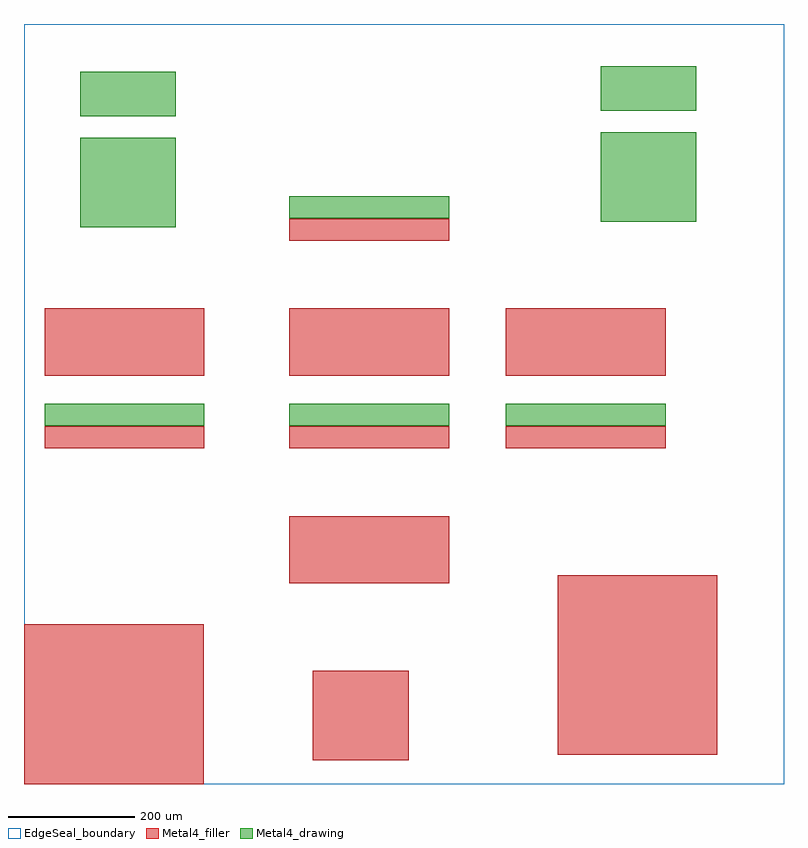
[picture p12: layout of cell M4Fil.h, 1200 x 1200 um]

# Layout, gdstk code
import gdstk
lib = gdstk.Library(unit=1e-6, precision=1e-09)
def R(c, l, rs):  # rectangles x0, y0, x1, y1
    for r in rs: c.add(gdstk.rectangle(r[:2], r[2:], *l))
def A(c, l, x, y, w, h, nx, ny, dx, dy):  # array of equal rectangles
    R(c, l, [(x+i*dx, y+j*dy, x+i*dx+w, y+j*dy+h) for i in range(nx) for j in range(ny)])
EdgeSeal_boundary = (39, 4)
Metal4_drawing = (50, 0)
Metal4_filler = (50, 22)

m4fil_h = lib.new_cell('M4Fil.h')
R(m4fil_h, EdgeSeal_boundary, [(0,0,1200,1200)])
A(m4fil_h, Metal4_drawing, 32.975, 565.64, 50, 35, 5, 1, 50.5, 0)
A(m4fil_h, Metal4_drawing, 419.065, 565.64, 50, 35, 5, 2, 50.5, 327.725)
A(m4fil_h, Metal4_drawing, 760.905, 565.64, 50, 35, 5, 1, 50.5, 0)
A(m4fil_h, Metal4_drawing, 88.995, 879.115, 50, 35, 3, 4, 50.5, 35.5)
A(m4fil_h, Metal4_drawing, 910.625, 887.55, 50, 35, 3, 4, 50.5, 35.5)
A(m4fil_h, Metal4_drawing, 88.995, 1054.34, 50, 35, 3, 2, 50.5, 35.5)
A(m4fil_h, Metal4_drawing, 910.625, 1062.775, 50, 35, 3, 2, 50.5, 35.5)
A(m4fil_h, Metal4_filler, 0, 0, 35, 50, 8, 5, 35.5, 50.5)
A(m4fil_h, Metal4_filler, 456.17, 37.335, 50, 35, 3, 4, 50.5, 35.5)
A(m4fil_h, Metal4_filler, 842.445, 46.18, 50, 35, 5, 8, 50.5, 35.5)
A(m4fil_h, Metal4_filler, 419.065, 317.14, 50, 35, 5, 3, 50.5, 35.5)
A(m4fil_h, Metal4_filler, 32.975, 530.14, 50, 35, 5, 2, 50.5, 114.725)
A(m4fil_h, Metal4_filler, 419.065, 530.14, 50, 35, 5, 2, 50.5, 114.725)
A(m4fil_h, Metal4_filler, 760.905, 530.14, 50, 35, 5, 2, 50.5, 114.725)
A(m4fil_h, Metal4_filler, 32.975, 680.365, 50, 35, 5, 2, 50.5, 35.5)
A(m4fil_h, Metal4_filler, 419.065, 680.365, 50, 35, 5, 2, 50.5, 35.5)
A(m4fil_h, Metal4_filler, 760.905, 680.365, 50, 35, 5, 2, 50.5, 35.5)
A(m4fil_h, Metal4_filler, 419.065, 857.865, 50, 35, 5, 1, 50.5, 0)

lib.write_gds('M4Fil.h.gds')
